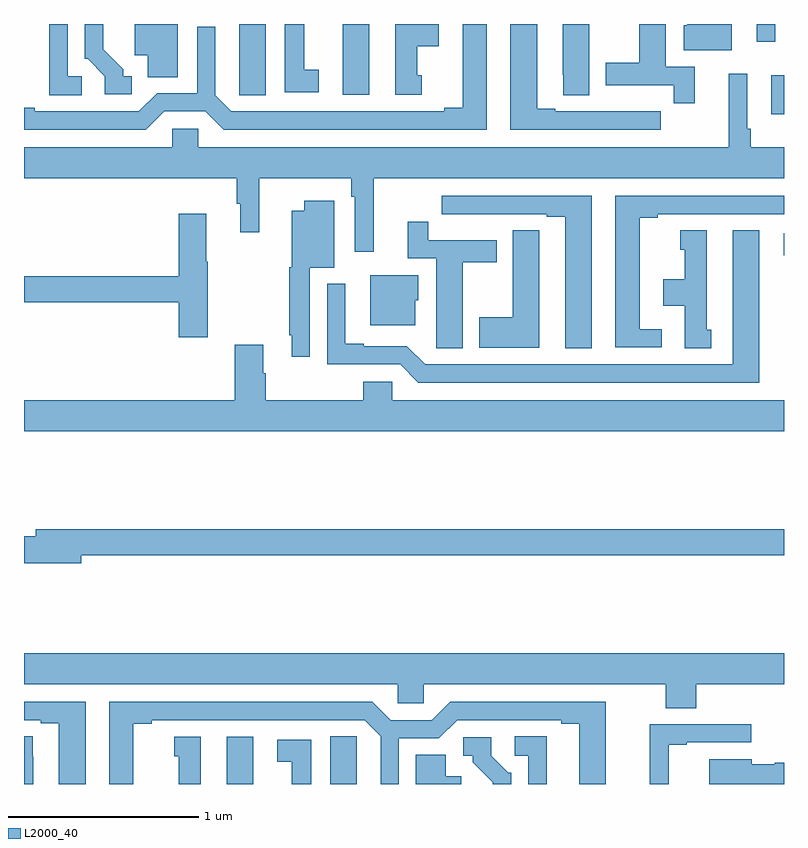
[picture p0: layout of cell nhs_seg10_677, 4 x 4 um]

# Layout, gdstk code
import gdstk
lib = gdstk.Library(unit=1e-6, precision=1e-09)
def R(c, l, rs):  # rectangles x0, y0, x1, y1
    for r in rs: c.add(gdstk.rectangle(r[:2], r[2:], *l))
def P(c, l, *ps):  # polygons
    for p in ps: c.add(gdstk.Polygon(p, *l))
L2000_40 = (2000, 40)

nhs_seg10_677 = lib.new_cell('nhs_seg10_677')
R(nhs_seg10_677, L2000_40, [(146.066,1258.5,146.206,1258.75), (148.998,1261.282,149,1261.398), (148.934,1262.024,149,1262.23), (146.678,1262.127,146.818,1262.5), (148.856,1262.406,148.953,1262.5)])
P(nhs_seg10_677, L2000_40, [(145.737,1262.04),(145.955,1262.04),(146.051,1261.944),(147.436,1261.944),(147.436,1262.5),(147.308,1262.5),(147.308,1262.06),(147.212,1262.06),(147.212,1262.04),(146.091,1262.04),(146.007,1262.124),(146.007,1262.485),(145.911,1262.485),(145.911,1262.136),(145.701,1262.136),(145.605,1262.04),(145.057,1262.04),(145.057,1262.06),(145,1262.06),(145,1261.944),(145.641,1261.944)],
  [(146.551,1262.258),(146.476,1262.258),(146.476,1262.5),(146.372,1262.5),(146.372,1262.142),(146.551,1262.142)],
  [(145.567,1262.226),(145.522,1262.226),(145.522,1262.261),(145.417,1262.366),(145.417,1262.5),(145.32,1262.5),(145.32,1262.316),(145.335,1262.316),(145.425,1262.226),(145.425,1262.13),(145.567,1262.13)],
  [(147.094,1262.229),(147.07,1262.229),(147.07,1262.384),(147.184,1262.384),(147.184,1262.5),(146.954,1262.5),(146.954,1262.127),(147.094,1262.127)],
  [(148.351,1262.04),(148.238,1262.04),(148.238,1262.041),(148.072,1262.041),(148.072,1262.04),(147.796,1262.04),(147.796,1262.055),(147.7,1262.055),(147.7,1262.5),(147.56,1262.5),(147.56,1261.944),(148.351,1261.944)],
  [(145.81,1262.5),(145.583,1262.5),(145.583,1262.336),(145.652,1262.336),(145.652,1262.221),(145.81,1262.221)],
  [(148.726,1262.5),(148.49,1262.5),(148.49,1262.493),(148.472,1262.493),(148.472,1262.363),(148.726,1262.363)],
  [(145.303,1262.226),(145.23,1262.226),(145.23,1262.5),(145.133,1262.5),(145.133,1262.125),(145.303,1262.125)],
  [(146.272,1262.5),(146.132,1262.5),(146.132,1262.233),(146.133,1262.233),(146.133,1262.125),(146.272,1262.125)],
  [(148.529,1262.274),(148.378,1262.274),(148.378,1262.5),(148.238,1262.5),(148.238,1262.295),(148.061,1262.295),(148.061,1262.178),(148.42,1262.178),(148.42,1262.082),(148.529,1262.082)],
  [(147.976,1262.5),(147.836,1262.5),(147.836,1262.233),(147.837,1262.233),(147.837,1262.125),(147.976,1262.125)],
  [(146.84,1261.688),(149,1261.688),(149,1261.852),(148.826,1261.852),(148.826,1261.948),(148.806,1261.948),(148.806,1262.239),(148.709,1262.239),(148.709,1261.852),(145.917,1261.852),(145.917,1261.95),(145.779,1261.95),(145.779,1261.852),(145,1261.852),(145,1261.688),(146.119,1261.688),(146.119,1261.554),(146.138,1261.554),(146.138,1261.404),(146.238,1261.404),(146.238,1261.688),(146.722,1261.688),(146.722,1261.592),(146.742,1261.592),(146.742,1261.302),(146.84,1261.302)],
  [(148.357,1260.894),(148.24,1260.894),(148.24,1261.48),(148.336,1261.48),(148.336,1261.5),(149,1261.5),(149,1261.596),(148.112,1261.596),(148.112,1260.798),(148.357,1260.798)],
  [(147.988,1261.596),(147.198,1261.596),(147.198,1261.5),(147.31,1261.5),(147.31,1261.499),(147.476,1261.499),(147.476,1261.5),(147.752,1261.5),(147.752,1261.485),(147.848,1261.485),(147.848,1260.793),(147.988,1260.793)],
  [(146.505,1261.217),(146.632,1261.217),(146.632,1261.57),(146.474,1261.57),(146.474,1261.516),(146.408,1261.516),(146.408,1261.221),(146.397,1261.221),(146.397,1260.862),(146.408,1260.862),(146.408,1260.75),(146.505,1260.75)],
  [(145.968,1261.249),(145.96,1261.249),(145.96,1261.501),(145.814,1261.501),(145.814,1261.172),(145,1261.172),(145,1261.036),(145.814,1261.036),(145.814,1260.852),(145.968,1260.852)],
  [(147.31,1261.246),(147.487,1261.246),(147.487,1261.362),(147.128,1261.362),(147.128,1261.459),(147.02,1261.459),(147.02,1261.266),(147.17,1261.266),(147.17,1260.904),(147.171,1260.904),(147.171,1260.793),(147.31,1260.793)],
  [(147.712,1261.307),(147.711,1261.307),(147.711,1261.415),(147.572,1261.415),(147.572,1260.957),(147.395,1260.957),(147.395,1260.797),(147.712,1260.797)],
  [(148.87,1261.414),(148.73,1261.414),(148.73,1260.708),(147.111,1260.708),(147.015,1260.804),(146.788,1260.804),(146.788,1260.817),(146.692,1260.817),(146.692,1261.132),(146.595,1261.132),(146.595,1260.708),(146.979,1260.708),(147.075,1260.612),(148.87,1260.612)],
  [(148.618,1260.891),(148.594,1260.891),(148.594,1261.414),(148.454,1261.414),(148.454,1261.311),(148.478,1261.311),(148.478,1261.156),(148.364,1261.156),(148.364,1261.016),(148.478,1261.016),(148.478,1260.793),(148.618,1260.793)],
  [(147.058,1261.047),(147.076,1261.047),(147.076,1261.177),(146.822,1261.177),(146.822,1260.914),(147.058,1260.914)],
  [(149,1260.52),(146.937,1260.52),(146.937,1260.618),(146.786,1260.618),(146.786,1260.52),(146.273,1260.52),(146.273,1260.662),(146.26,1260.662),(146.26,1260.811),(146.108,1260.811),(146.108,1260.52),(145,1260.52),(145,1260.356),(149,1260.356)],
  [(145.3,1259.704),(149,1259.704),(149,1259.84),(145.061,1259.84),(145.061,1259.804),(145,1259.804),(145,1259.662),(145.3,1259.662)],
  [(148.538,1259.024),(149,1259.024),(149,1259.188),(145,1259.188),(145,1259.024),(146.967,1259.024),(146.967,1258.926),(147.105,1258.926),(147.105,1259.024),(148.378,1259.024),(148.378,1258.9),(148.538,1258.9)],
  [(145.576,1258.816),(145.672,1258.816),(145.672,1258.836),(146.793,1258.836),(146.877,1258.752),(146.877,1258.5),(146.973,1258.5),(146.973,1258.74),(147.183,1258.74),(147.279,1258.836),(147.827,1258.836),(147.827,1258.816),(147.923,1258.816),(147.923,1258.5),(148.063,1258.5),(148.063,1258.932),(147.243,1258.932),(147.147,1258.836),(146.929,1258.836),(146.833,1258.932),(145.448,1258.932),(145.448,1258.5),(145.576,1258.5)],
  [(145.324,1258.932),(145,1258.932),(145,1258.836),(145.088,1258.836),(145.088,1258.821),(145.184,1258.821),(145.184,1258.5),(145.324,1258.5)],
  [(148.394,1258.707),(148.489,1258.707),(148.489,1258.719),(148.828,1258.719),(148.828,1258.815),(148.294,1258.815),(148.294,1258.5),(148.394,1258.5)],
  [(147.751,1258.751),(147.582,1258.751),(147.582,1258.65),(147.654,1258.65),(147.654,1258.5),(147.751,1258.5)],
  [(146.752,1258.643),(146.751,1258.643),(146.751,1258.751),(146.612,1258.751),(146.612,1258.5),(146.752,1258.5)],
  [(145.048,1258.643),(145.047,1258.643),(145.047,1258.751),(145,1258.751),(145,1258.5),(145.048,1258.5)],
  [(145.93,1258.75),(145.79,1258.75),(145.79,1258.647),(145.814,1258.647),(145.814,1258.5),(145.93,1258.5)],
  [(147.564,1258.56),(147.549,1258.56),(147.459,1258.65),(147.459,1258.746),(147.312,1258.746),(147.312,1258.65),(147.362,1258.65),(147.362,1258.615),(147.467,1258.51),(147.467,1258.5),(147.564,1258.5)],
  [(146.512,1258.734),(146.334,1258.734),(146.334,1258.618),(146.408,1258.618),(146.408,1258.5),(146.512,1258.5)],
  [(147.301,1258.54),(147.22,1258.54),(147.22,1258.655),(147.062,1258.655),(147.062,1258.5),(147.301,1258.5)],
  [(149,1258.611),(148.95,1258.611),(148.95,1258.603),(148.83,1258.603),(148.83,1258.63),(148.607,1258.63),(148.607,1258.5),(149,1258.5)])

lib.write_gds('nhs_seg10_677.gds')
